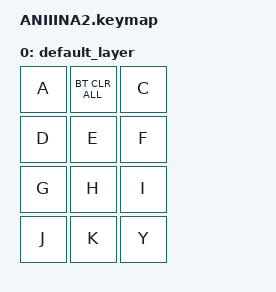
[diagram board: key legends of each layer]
#include <behaviors.dtsi>
#include <dt-bindings/zmk/keys.h>
#include <dt-bindings/zmk/bt.h>

/ {
    keymap {
        compatible = "zmk,keymap";

        default_layer {
            bindings = <
                &kp A &bt BT_CLR_ALL &kp C
                &kp D &kp E &kp F
                &kp G &kp H &kp I
                &kp J &kp K &kp Y
            >;
        };
    };
};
